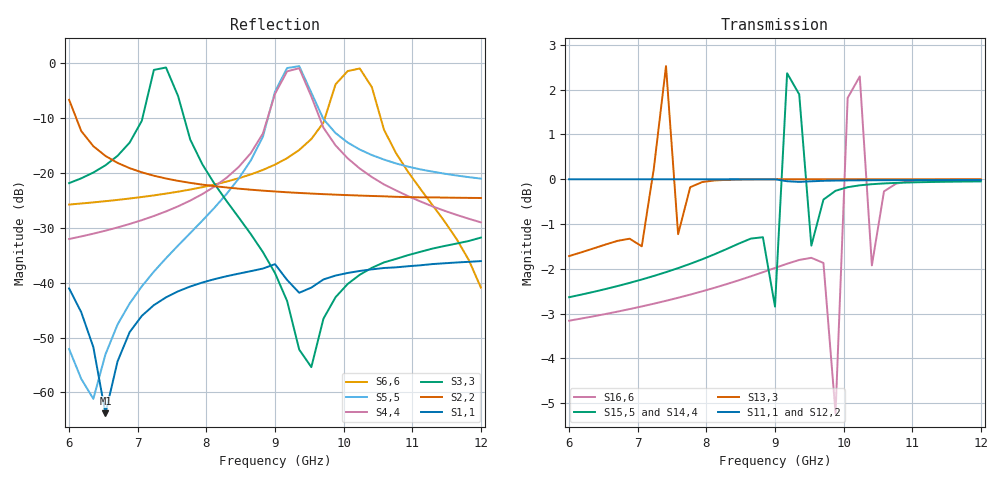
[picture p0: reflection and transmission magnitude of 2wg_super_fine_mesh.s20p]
! S-parameter export from POSTFEKO
! Filename: circular_2wg_10modes_coarse
! Creation date: 2020-03-06 09:43:36
# Hz S MA R  5.0000000E+01
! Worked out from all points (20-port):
!   35 points, 6 GHz to 12 GHz, reference 50 ohm
!   strongest paths, dB at 6 GHz, 7.412 GHz, 9 GHz, 10.59 GHz, 12 GHz:
!     S11,1: 0.0, 0.0, 0.0, 0.0, 0.0
!     S13,3: -1.7, 2.5, 0.0, 0.0, 0.0
!     S12,2: -1.0, 0.0, 0.0, 0.0, 0.0
!     S15,5: -2.6, -2.1, -2.8, -0.1, 0.0
!     S14,4: -2.7, -2.2, -3.4, 0.0, 0.0
!     S16,6: -3.2, -2.7, -2.0, -0.3, 0.0
!   lowest |S11| = -63.8 dB at 6.529 GHz (marker M1), VSWR 1.00, Z = 50 + j0.0644 ohm
!   |S11| at or under -10 dB: start of sweep to end of sweep
